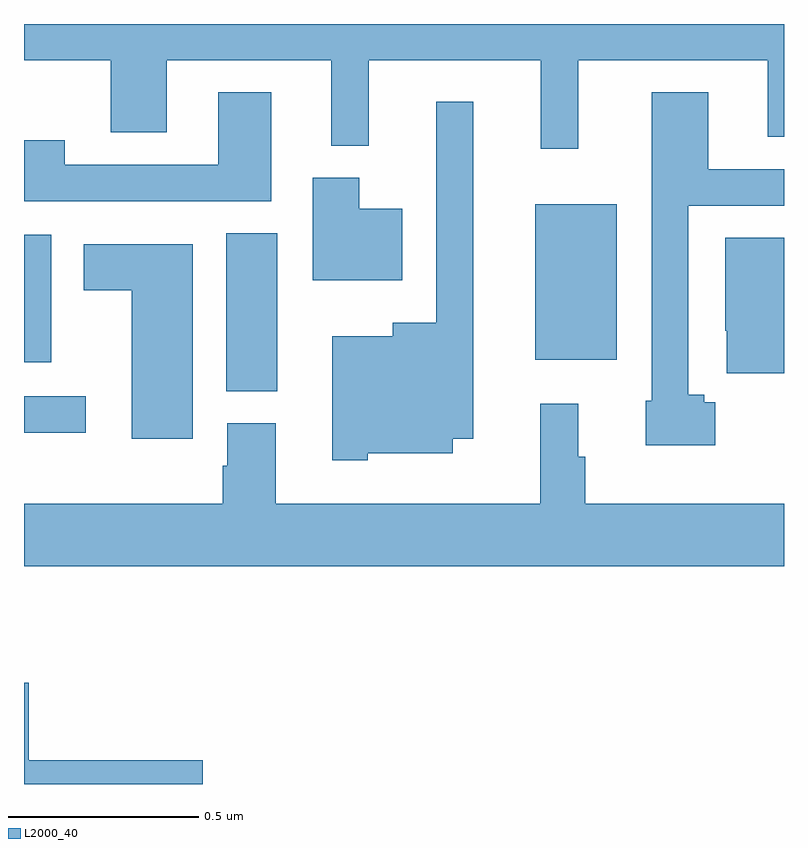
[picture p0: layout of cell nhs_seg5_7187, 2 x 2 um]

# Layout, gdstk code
import gdstk
lib = gdstk.Library(unit=1e-6, precision=1e-09)
def R(c, l, rs):  # rectangles x0, y0, x1, y1
    for r in rs: c.add(gdstk.rectangle(r[:2], r[2:], *l))
def P(c, l, *ps):  # polygons
    for p in ps: c.add(gdstk.Polygon(p, *l))
L2000_40 = (2000, 40)

nhs_seg5_7187 = lib.new_cell('nhs_seg5_7187')
R(nhs_seg5_7187, L2000_40, [(205,911.723,205.162,911.82), (205.532,911.833,205.666,912.248), (205,911.909,205.072,912.244), (206.345,911.915,206.56,912.325)])
P(nhs_seg5_7187, L2000_40, [(206.459,912.704),(206.957,912.704),(206.957,912.502),(207,912.502),(207,912.799),(205,912.799),(205,912.704),(205.228,912.704),(205.228,912.514),(205.375,912.514),(205.375,912.704),(205.808,912.704),(205.808,912.479),(205.907,912.479),(205.907,912.704),(206.36,912.704),(206.36,912.471),(206.459,912.471)],
  [(206.819,911.804),(206.79,911.804),(206.79,911.824),(206.748,911.824),(206.748,912.321),(207,912.321),(207,912.417),(206.8,912.417),(206.8,912.619),(206.652,912.619),(206.652,911.808),(206.636,911.808),(206.636,911.69),(206.819,911.69)],
  [(205.651,912.619),(205.511,912.619),(205.511,912.429),(205.107,912.429),(205.107,912.493),(205,912.493),(205,912.333),(205.651,912.333)],
  [(205.905,911.669),(206.128,911.669),(206.128,911.708),(206.182,911.708),(206.182,912.595),(206.085,912.595),(206.085,912.013),(205.97,912.013),(205.97,911.977),(205.811,911.977),(205.811,911.651),(205.905,911.651)],
  [(205.996,912.313),(205.882,912.313),(205.882,912.394),(205.76,912.394),(205.76,912.125),(205.996,912.125)],
  [(207,912.236),(206.846,912.236),(206.846,911.992),(206.849,911.992),(206.849,911.88),(207,911.88)],
  [(205.444,912.22),(205.157,912.22),(205.157,912.098),(205.283,912.098),(205.283,911.708),(205.444,911.708)],
  [(207,911.536),(206.477,911.536),(206.477,911.66),(206.458,911.66),(206.458,911.8),(206.359,911.8),(206.359,911.536),(205.663,911.536),(205.663,911.748),(205.535,911.748),(205.535,911.637),(205.523,911.637),(205.523,911.536),(205,911.536),(205,911.372),(207,911.372)],
  [(205.471,910.862),(205.013,910.862),(205.013,911.065),(205,911.065),(205,910.799),(205.471,910.799)])

lib.write_gds('nhs_seg5_7187.gds')
